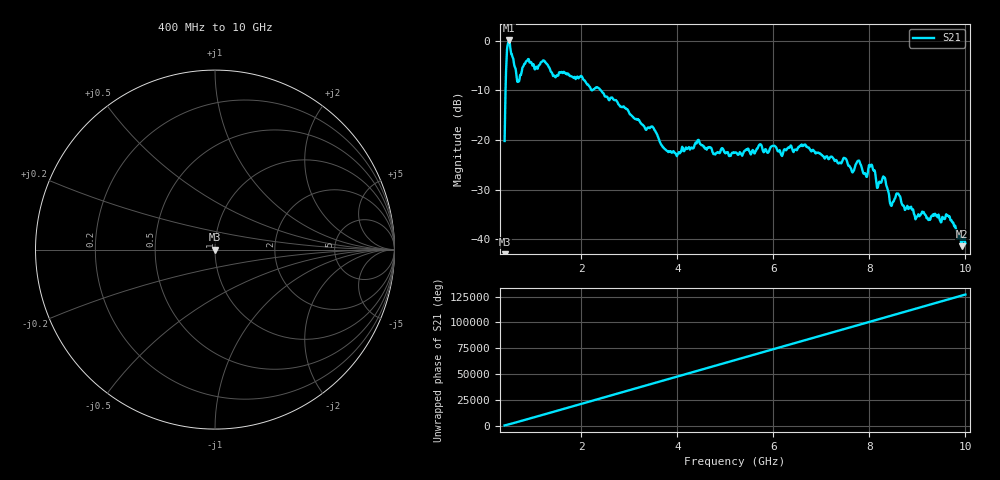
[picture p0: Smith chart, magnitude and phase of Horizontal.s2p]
!Keysight Technologies,N5227B,US57180442,A.13.50.07
!Date: Wednesday, August 26, 2020 11:58:54
!Correction: S11(Off)
!S21(Off)
!S12(Off)
!S22(Off)
!S2P File: Measurements: S11, S21, S12, S22:
# Hz S  dB  R 50
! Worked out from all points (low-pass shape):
!   961 points, 400 MHz to 10 GHz, reference 50 ohm
!   highest |S21| = 0.05 dB at 490 MHz (marker M1); lowest = -41.4 dB at 9.92 GHz (marker M2)
!   |S21| within 3 dB of the highest: 444 MHz to 555 MHz (111 MHz wide, 22.2 % of centre)
!   lowest |S11| = - dB at 400 MHz (marker M3), VSWR 1.00, Z = 50 + j7.07e-09 ohm
!   |S11| at or under -10 dB: start of sweep to end of sweep
!   S12 and S22 are empty: the file has one direction only
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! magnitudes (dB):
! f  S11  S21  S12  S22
! 400 MHz  -  -20.2  -  -
! 460 MHz  -  -1.0  -  -
! 490 MHz  -  0.1  -  -
! 690 MHz  -  -8.1  -  -
! 880 MHz  -  -3.9  -  -
! 2 GHz  -  -7.1  -  -
! 3.6 GHz  -  -19.4  -  -
! 3.98 GHz  -  -23.0  -  -
! 4.42 GHz  -  -20.1  -  -
! 5.2 GHz  -  -22.5  -  -
! 6.8 GHz  -  -22.2  -  -
! 7.64 GHz  -  -26.4  -  -
! 7.78 GHz  -  -24.1  -  -
! 7.92 GHz  -  -26.9  -  -
! 8.03 GHz  -  -25.1  -  -
! 8.18 GHz  -  -29.3  -  -
! 8.31 GHz  -  -27.5  -  -
! 8.4 GHz  -  -30.6  -  -
! 8.97 GHz  -  -35.8  -  -
! 9.64 GHz  -  -35.2  -  -
! 9.92 GHz  -  -41.4  -  -
! 10 GHz  -  -40.8  -  -
